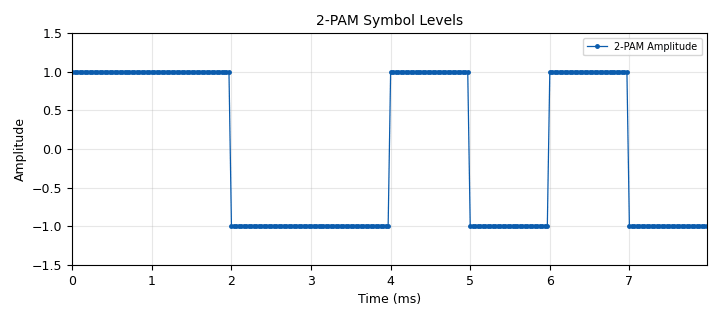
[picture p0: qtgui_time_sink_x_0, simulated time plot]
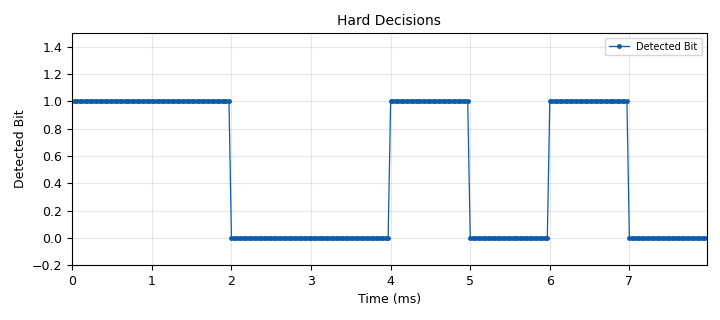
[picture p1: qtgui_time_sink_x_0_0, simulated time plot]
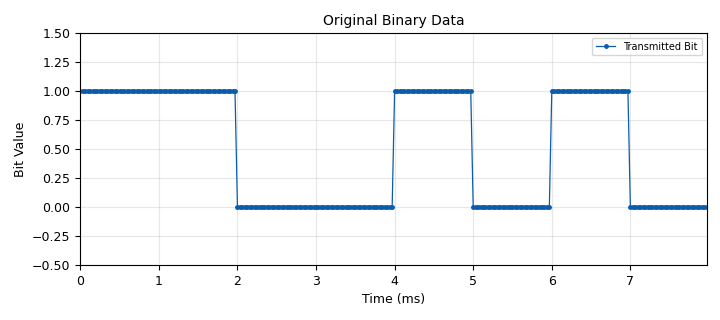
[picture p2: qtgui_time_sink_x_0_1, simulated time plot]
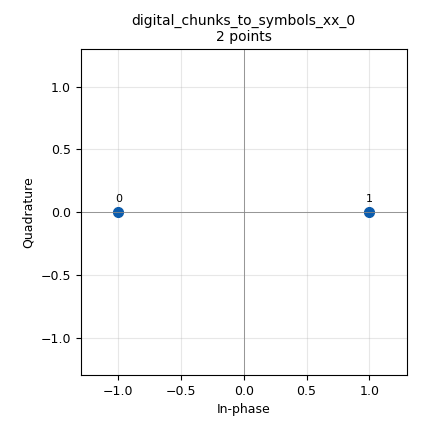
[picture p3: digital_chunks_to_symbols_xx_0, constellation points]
options:
  parameters:
    author: Dhrubjun
    generate_options: qt_gui
    id: exp3
    output_language: python
    title: Hard Decisions in 2-PAM
  states: {}

blocks:
- name: bit_rate
  id: variable
  parameters:
    value: '1000'
  states: {}
- name: bits_per_symbol
  id: variable
  parameters:
    value: '1'
  states: {}
- name: samp_rate
  id: variable
  parameters:
    value: '32000'
  states: {}
- name: samples_per_symbol
  id: variable
  parameters:
    value: int(samp_rate / symbol_rate)
  states: {}
- name: symbol_rate
  id: variable
  parameters:
    value: bit_rate / bits_per_symbol
  states: {}
- name: blocks_repeat_0
  id: blocks_repeat
  parameters:
    interp: samples_per_symbol
    type: float
  states: {}
- name: blocks_repeat_0_0
  id: blocks_repeat
  parameters:
    interp: samples_per_symbol
    type: float
  states: {}
- name: blocks_repeat_0_1
  id: blocks_repeat
  parameters:
    interp: samples_per_symbol
    type: float
  states: {}
- name: blocks_throttle2_0
  id: blocks_throttle2
  parameters:
    samples_per_second: samp_rate
    type: float
  states: {}
- name: blocks_throttle2_0_0
  id: blocks_throttle2
  parameters:
    samples_per_second: samp_rate
    type: float
  states: {}
- name: blocks_throttle2_0_1
  id: blocks_throttle2
  parameters:
    samples_per_second: samp_rate
    type: float
  states: {}
- name: blocks_uchar_to_float_0
  id: blocks_uchar_to_float
  parameters: {}
  states: {}
- name: blocks_uchar_to_float_0_0
  id: blocks_uchar_to_float
  parameters: {}
  states: {}
- name: blocks_vector_source_x_0
  id: blocks_vector_source_x
  parameters:
    repeat: 'True'
    type: byte
    vector: (1, 0, 1, 1, 0, 0, 1, 0)
  states: {}
- name: digital_binary_slicer_fb_0
  id: digital_binary_slicer_fb
  parameters: {}
  states: {}
- name: digital_chunks_to_symbols_xx_0
  id: digital_chunks_to_symbols_xx
  parameters:
    dimension: '1'
    in_type: byte
    out_type: float
    symbol_table: '[-1, 1]'
  states: {}
- name: qtgui_time_sink_x_0
  id: qtgui_time_sink_x
  parameters:
    grid: 'True'
    gui_hint: (0,1,1,1)
    label1: 2-PAM Amplitude
    marker1: '0'
    name: 2-PAM Symbol Levels
    size: '256'
    srate: samp_rate
    style1: '2'
    type: float
    update_time: '0.1'
    ymax: '1.5'
    ymin: '-1.5'
  states: {}
- name: qtgui_time_sink_x_0_0
  id: qtgui_time_sink_x
  parameters:
    grid: 'True'
    gui_hint: (1,0,1,1)
    label1: Detected Bit
    marker1: '0'
    name: Hard Decisions
    size: '256'
    srate: samp_rate
    style1: '2'
    type: float
    update_time: '0.1'
    ylabel: Detected Bit
    ymax: '1.5'
    ymin: '-0.2'
  states: {}
- name: qtgui_time_sink_x_0_1
  id: qtgui_time_sink_x
  parameters:
    grid: 'True'
    gui_hint: (0,0,1,1)
    label1: Transmitted Bit
    marker1: '0'
    name: Original Binary Data
    size: '256'
    srate: samp_rate
    style1: '2'
    type: float
    update_time: '0.1'
    ylabel: Bit Value
    ymax: '1.5'
    ymin: '-0.5'
  states: {}

connections:
- [blocks_repeat_0, '0', blocks_throttle2_0_0, '0']
- [blocks_repeat_0_0, '0', blocks_throttle2_0_1, '0']
- [blocks_repeat_0_1, '0', blocks_throttle2_0, '0']
- [blocks_throttle2_0, '0', qtgui_time_sink_x_0, '0']
- [blocks_throttle2_0_0, '0', qtgui_time_sink_x_0_0, '0']
- [blocks_throttle2_0_1, '0', qtgui_time_sink_x_0_1, '0']
- [blocks_uchar_to_float_0, '0', blocks_repeat_0_0, '0']
- [blocks_uchar_to_float_0_0, '0', blocks_repeat_0, '0']
- [blocks_vector_source_x_0, '0', blocks_uchar_to_float_0, '0']
- [blocks_vector_source_x_0, '0', digital_chunks_to_symbols_xx_0, '0']
- [digital_binary_slicer_fb_0, '0', blocks_uchar_to_float_0_0, '0']
- [digital_chunks_to_symbols_xx_0, '0', blocks_repeat_0_1, '0']
- [digital_chunks_to_symbols_xx_0, '0', digital_binary_slicer_fb_0, '0']

metadata:
  file_format: 1
  grc_version: 3.10.12.0
